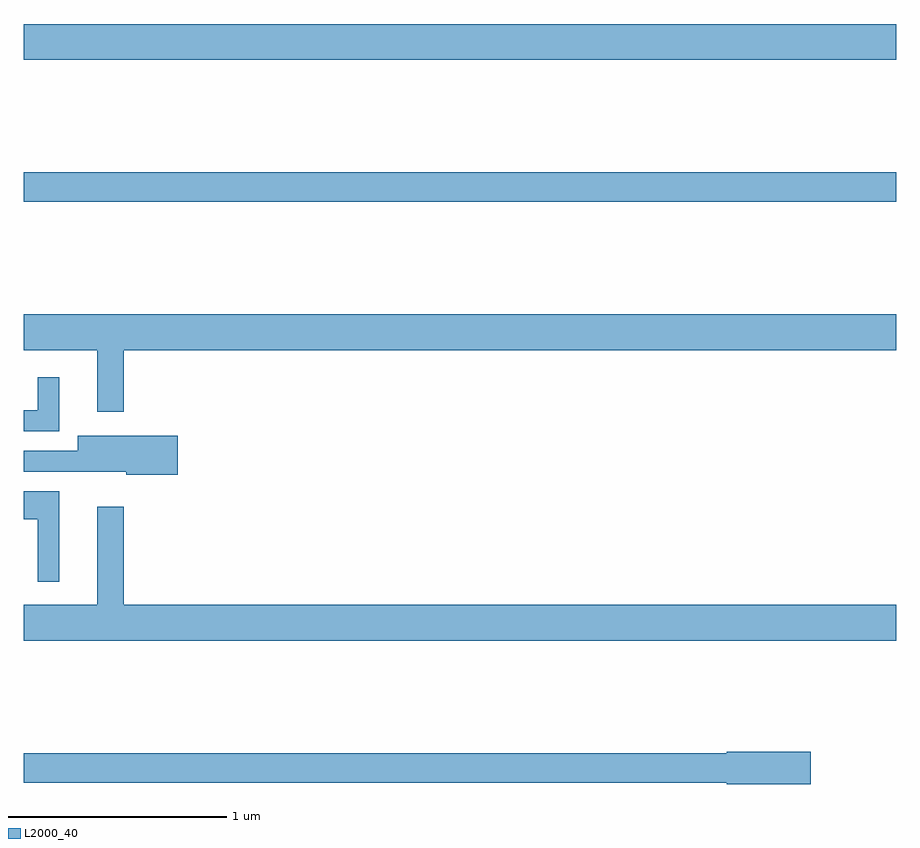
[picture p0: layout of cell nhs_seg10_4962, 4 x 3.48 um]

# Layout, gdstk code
import gdstk
lib = gdstk.Library(unit=1e-6, precision=1e-09)
def R(c, l, rs):  # rectangles x0, y0, x1, y1
    for r in rs: c.add(gdstk.rectangle(r[:2], r[2:], *l))
def P(c, l, *ps):  # polygons
    for p in ps: c.add(gdstk.Polygon(p, *l))
L2000_40 = (2000, 40)

nhs_seg10_4962 = lib.new_cell('nhs_seg10_4962')
R(nhs_seg10_4962, L2000_40, [(397,1323.64,401,1323.776), (397,1324.292,401,1324.456)])
P(nhs_seg10_4962, L2000_40, [(397.459,1322.96),(401,1322.96),(401,1323.124),(397,1323.124),(397,1322.96),(397.337,1322.96),(397.337,1322.679),(397.459,1322.679)],
  [(397.162,1322.836),(397.064,1322.836),(397.064,1322.685),(397,1322.685),(397,1322.589),(397.162,1322.589)],
  [(397.705,1322.568),(397.247,1322.568),(397.247,1322.499),(397,1322.499),(397,1322.403),(397.251,1322.403),(397.251,1322.402),(397.47,1322.402),(397.47,1322.39),(397.705,1322.39)],
  [(397.162,1322.314),(397,1322.314),(397,1322.186),(397.064,1322.186),(397.064,1321.899),(397.162,1321.899)],
  [(401,1321.792),(397.459,1321.792),(397.459,1322.242),(397.337,1322.242),(397.337,1321.792),(397,1321.792),(397,1321.628),(401,1321.628)],
  [(400.609,1321.118),(400.224,1321.118),(400.224,1321.112),(397,1321.112),(397,1320.976),(400.224,1320.976),(400.224,1320.971),(400.609,1320.971)])

lib.write_gds('nhs_seg10_4962.gds')
